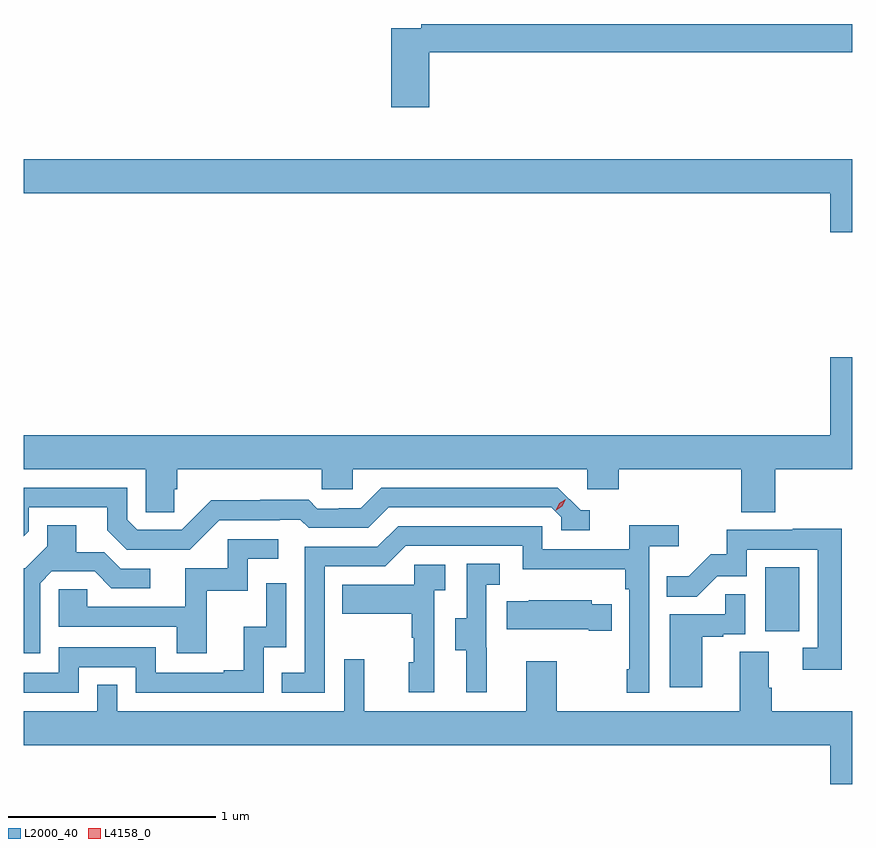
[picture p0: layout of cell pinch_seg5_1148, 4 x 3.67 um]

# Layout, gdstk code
import gdstk
lib = gdstk.Library(unit=1e-6, precision=1e-09)
def R(c, l, rs):  # rectangles x0, y0, x1, y1
    for r in rs: c.add(gdstk.rectangle(r[:2], r[2:], *l))
def P(c, l, *ps):  # polygons
    for p in ps: c.add(gdstk.Polygon(p, *l))
L2000_40 = (2000, 40)
L4158_0 = (4158, 0)

pinch_seg5_1148 = lib.new_cell('pinch_seg5_1148')
R(pinch_seg5_1148, L2000_40, [(836.024,849.318,836.188,849.625)])
P(pinch_seg5_1148, L2000_40, [(834.401,852.112),(836.444,852.112),(836.444,852.248),(834.364,852.248),(834.364,852.228),(834.218,852.228),(834.218,851.847),(834.401,851.847)],
  [(836.444,851.596),(832.444,851.596),(832.444,851.432),(836.336,851.432),(836.336,851.244),(836.444,851.244)],
  [(833.171,850.002),(833.186,850.002),(833.186,850.1),(833.883,850.1),(833.883,850.002),(834.033,850.002),(834.033,850.1),(835.164,850.1),(835.164,850.002),(835.316,850.002),(835.316,850.1),(835.907,850.1),(835.907,849.892),(836.072,849.892),(836.072,850.1),(836.444,850.1),(836.444,850.639),(836.336,850.639),(836.336,850.264),(832.444,850.264),(832.444,850.1),(833.034,850.1),(833.034,849.892),(833.171,849.892)],
  [(833.388,849.852),(833.681,849.852),(833.681,849.855),(833.78,849.855),(833.819,849.816),(834.108,849.816),(834.207,849.915),(834.99,849.915),(835.038,849.867),(835.038,849.804),(835.177,849.804),(835.177,849.9),(835.134,849.9),(835.023,850.011),(834.17,850.011),(834.071,849.912),(833.964,849.912),(833.964,849.909),(833.861,849.909),(833.819,849.952),(833.586,849.952),(833.586,849.949),(833.35,849.949),(833.208,849.807),(832.992,849.807),(832.944,849.855),(832.944,850.011),(832.444,850.011),(832.444,849.775),(832.47,849.801),(832.47,849.915),(832.847,849.915),(832.847,849.805),(832.941,849.711),(833.247,849.711)],
  [(832.524,849.549),(832.581,849.606),(832.787,849.606),(832.868,849.525),(833.056,849.525),(833.056,849.618),(832.914,849.618),(832.834,849.698),(832.699,849.698),(832.699,849.83),(832.559,849.83),(832.559,849.728),(832.452,849.621),(832.444,849.621),(832.444,849.21),(832.524,849.21)],
  [(833.898,849.63),(834.189,849.63),(834.288,849.729),(834.852,849.729),(834.852,849.617),(835.348,849.617),(835.348,849.521),(835.368,849.521),(835.368,849.133),(835.356,849.133),(835.356,849.021),(835.464,849.021),(835.464,849.728),(835.606,849.728),(835.606,849.83),(835.367,849.83),(835.367,849.714),(834.948,849.714),(834.948,849.825),(834.251,849.825),(834.152,849.726),(833.802,849.726),(833.802,849.117),(833.689,849.117),(833.689,849.021),(833.898,849.021)],
  [(836.393,849.812),(836.155,849.812),(836.155,849.807),(835.837,849.807),(835.837,849.69),(835.76,849.69),(835.653,849.583),(835.549,849.583),(835.549,849.484),(835.693,849.484),(835.791,849.582),(835.935,849.582),(835.935,849.711),(836.277,849.711),(836.277,849.237),(836.205,849.237),(836.205,849.132),(836.393,849.132)],
  [(833.327,849.513),(833.526,849.513),(833.526,849.666),(833.674,849.666),(833.674,849.762),(833.43,849.762),(833.43,849.621),(833.225,849.621),(833.225,849.435),(832.751,849.435),(832.751,849.519),(832.614,849.519),(832.614,849.339),(833.183,849.339),(833.183,849.21),(833.327,849.21)],
  [(834.68,849.237),(834.678,849.237),(834.678,849.541),(834.742,849.541),(834.742,849.644),(834.582,849.644),(834.582,849.381),(834.527,849.381),(834.527,849.226),(834.581,849.226),(834.581,849.024),(834.68,849.024)],
  [(834.426,849.515),(834.478,849.515),(834.478,849.639),(834.33,849.639),(834.33,849.541),(833.983,849.541),(833.983,849.401),(834.318,849.401),(834.318,849.287),(834.328,849.287),(834.328,849.168),(834.302,849.168),(834.302,849.024),(834.426,849.024)],
  [(832.71,849.144),(832.986,849.144),(832.986,849.021),(833.604,849.021),(833.604,849.24),(833.712,849.24),(833.712,849.55),(833.616,849.55),(833.616,849.338),(833.507,849.338),(833.507,849.13),(833.411,849.13),(833.411,849.117),(833.082,849.117),(833.082,849.24),(832.614,849.24),(832.614,849.117),(832.444,849.117),(832.444,849.021),(832.71,849.021)],
  [(835.72,849.291),(835.82,849.291),(835.82,849.303),(835.926,849.303),(835.926,849.497),(835.831,849.497),(835.831,849.399),(835.562,849.399),(835.562,849.048),(835.72,849.048)],
  [(835.283,849.448),(835.185,849.448),(835.185,849.466),(834.883,849.466),(834.883,849.463),(834.775,849.463),(834.775,849.326),(835.172,849.326),(835.172,849.319),(835.283,849.319)],
  [(836.444,848.932),(836.054,848.932),(836.054,849.044),(836.041,849.044),(836.041,849.218),(835.901,849.218),(835.901,848.932),(835.017,848.932),(835.017,849.172),(834.869,849.172),(834.869,848.932),(834.089,848.932),(834.089,849.181),(833.991,849.181),(833.991,848.932),(832.896,848.932),(832.896,849.059),(832.8,849.059),(832.8,848.932),(832.444,848.932),(832.444,848.768),(836.336,848.768),(836.336,848.58),(836.444,848.58)])
P(pinch_seg5_1148, L4158_0, [(835.013,849.902),(835.013,849.902),(835.029,849.934),(835.06,849.954),(835.06,849.954),(835.06,849.954),(835.044,849.921),(835.014,849.902)])

lib.write_gds('pinch_seg5_1148.gds')
